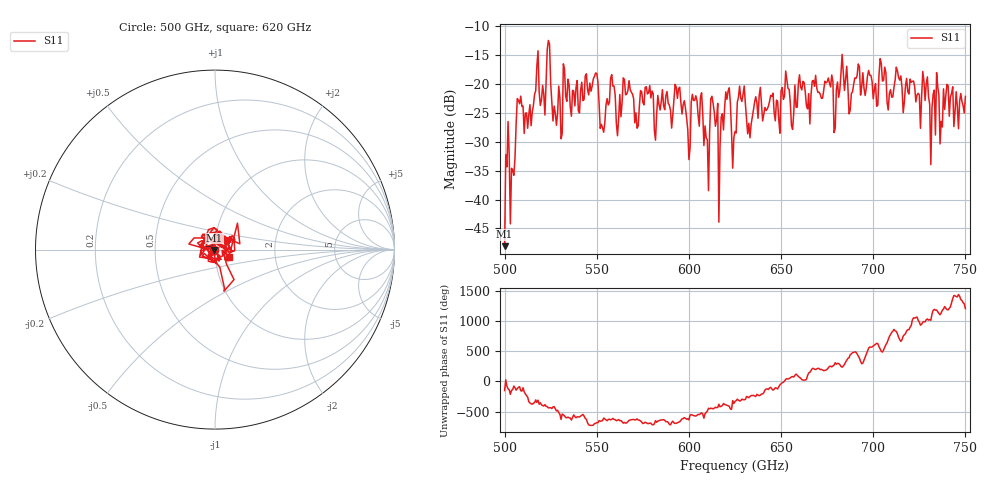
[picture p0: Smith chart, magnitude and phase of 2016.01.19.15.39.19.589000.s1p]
!Created with skrf (http://scikit-rf.org).
# GHz S RI R 50.0
!freq ReS11 ImS11
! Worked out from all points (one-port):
!   401 points, 500 GHz to 750 GHz, reference 50 ohm
!   lowest |S11| = -48.1 dB at 500 GHz (marker M1), VSWR 1.01, Z = 49.7 - j0.192 ohm
!   |S11| at or under -10 dB: start of sweep to end of sweep
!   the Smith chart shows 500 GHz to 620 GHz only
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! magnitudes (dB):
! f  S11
! 500 GHz  -48.1
! 504.4 GHz  -34.9
! 508.1 GHz  -23.4
! 520.6 GHz  -20.3
! 523.8 GHz  -12.5
! 526.9 GHz  -23.8
! 531.2 GHz  -28.6
! 549.4 GHz  -18.1
! 553.1 GHz  -27.6
! 558.8 GHz  -20.4
! 562.5 GHz  -21.8
! 593.8 GHz  -22.5
! 599.4 GHz  -27.9
! 605.6 GHz  -27.3
! 609.4 GHz  -29.3
! 613.1 GHz  -23.4
! 617.5 GHz  -25.7
! 621.2 GHz  -21.3
! 625 GHz  -28.2
! 628.8 GHz  -23.0
! 632.5 GHz  -26.8
! 653.1 GHz  -19.2
! 656.2 GHz  -27.9
! 680 GHz  -21.0
! 684.4 GHz  -21.1
! 687.5 GHz  -24.6
! 718.8 GHz  -21.4
! 750 GHz  -22.2
